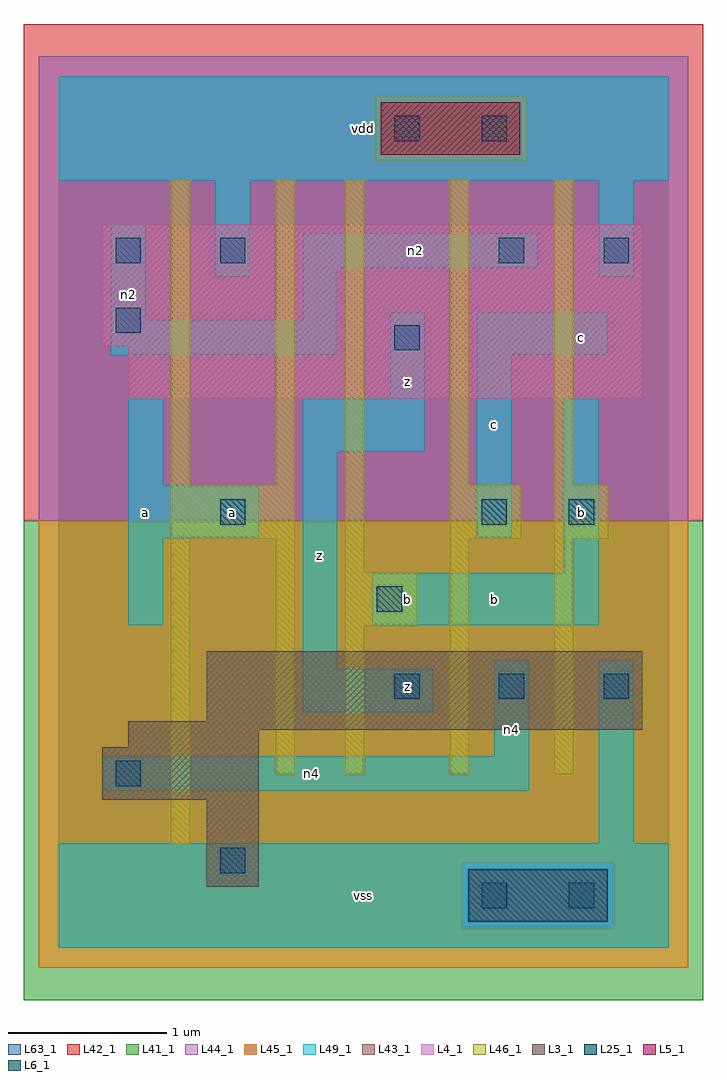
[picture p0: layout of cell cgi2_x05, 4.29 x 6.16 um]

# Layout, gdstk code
import gdstk
lib = gdstk.Library(unit=1e-6, precision=1e-09)
def R(c, l, rs):  # rectangles x0, y0, x1, y1
    for r in rs: c.add(gdstk.rectangle(r[:2], r[2:], *l))
def A(c, l, x, y, w, h, nx, ny, dx, dy):  # array of equal rectangles
    R(c, l, [(x+i*dx, y+j*dy, x+i*dx+w, y+j*dy+h) for i in range(nx) for j in range(ny)])
L3_1 = (3, 1)
L4_1 = (4, 1)
L5_1 = (5, 1)
L6_1 = (6, 1)
L25_1 = (25, 1)
L41_1 = (41, 1)
L42_1 = (42, 1)
L43_1 = (43, 1)
L44_1 = (44, 1)
L45_1 = (45, 1)
L46_1 = (46, 1)
L49_1 = (49, 1)
L63_1 = (63, 1)

cgi2_x05 = lib.new_cell('cgi2_x05')
R(cgi2_x05, L3_1, [(0.935,0.385,1.265,0.935), (0.275,0.935,1.265,1.265), (0.44,1.265,1.265,1.375), (0.44,1.375,3.685,1.43), (0.935,1.43,3.685,1.87)])
R(cgi2_x05, L4_1, [(0.44,3.465,3.685,3.795), (0.275,3.795,3.685,4.565)])
R(cgi2_x05, L5_1, [(2.035,5.005,2.915,5.335)])
R(cgi2_x05, L6_1, [(2.585,0.165,3.465,0.495)])
A(cgi2_x05, L25_1, 2.67, 0.25, 0.16, 0.16, 1, 3, 0, 2.42)
A(cgi2_x05, L25_1, 2.12, 1.57, 0.16, 0.16, 3, 1, 0.66, 0)
R(cgi2_x05, L25_1, [(3.22,0.25,3.38,0.41), (1.02,0.47,1.18,0.63), (0.36,1.02,0.52,1.18), (2.01,2.12,2.17,2.28), (1.02,2.67,1.18,2.83), (3.22,2.67,3.38,2.83), (2.12,3.77,2.28,3.93), (0.36,3.88,0.52,4.04), (0.36,4.32,0.52,4.48), (1.02,4.32,1.18,4.48), (2.78,4.32,2.94,4.48), (3.44,4.32,3.6,4.48), (2.12,5.09,2.28,5.25)])
R(cgi2_x05, L41_1, [(-0.22,-0.33,4.07,2.695)])
R(cgi2_x05, L42_1, [(-0.22,2.695,4.07,5.83)])
R(cgi2_x05, L43_1, [(2.585,0.165,3.465,0.495), (0.935,0.385,1.265,0.935), (0.275,0.935,1.265,1.265), (0.44,1.265,1.265,1.375), (0.44,1.375,3.685,1.43), (0.935,1.43,3.685,1.87), (0.44,3.465,3.685,3.795), (0.275,3.795,3.685,4.565), (2.035,5.005,2.915,5.335)])
R(cgi2_x05, L44_1, [(2.545,0.125,3.505,0.535), (-0.125,2.695,3.975,4.965), (-0.125,4.965,1.995,5.375), (2.955,4.965,3.975,5.375), (-0.125,5.375,3.975,5.625)])
R(cgi2_x05, L45_1, [(-0.125,-0.125,3.975,0.125), (-0.125,0.125,2.545,0.535), (3.505,0.125,3.975,0.535), (-0.125,0.535,3.975,2.695), (1.995,4.965,2.955,5.375)])
R(cgi2_x05, L46_1, [(0.71,0.655,0.83,2.58), (1.37,1.095,1.49,2.58), (1.81,1.095,1.93,2.03), (2.47,1.095,2.59,2.58), (3.13,1.095,3.25,2.58), (1.81,2.03,2.26,2.37), (1.81,2.37,1.93,4.845), (0.71,2.58,1.49,2.92), (2.47,2.58,2.92,2.92), (3.13,2.58,3.47,2.92), (0.71,2.92,0.83,4.845), (1.37,2.92,1.49,4.845), (2.47,2.92,2.59,4.845), (3.13,2.92,3.25,4.845)])
R(cgi2_x05, L49_1, [(0,0,3.85,0.66), (3.41,0.66,3.63,1.815), (0.275,0.99,2.97,1.21), (2.75,1.21,2.97,1.815), (1.54,1.485,2.365,1.76), (1.54,1.76,1.76,3.135), (0.44,2.035,0.66,2.585), (1.98,2.035,3.41,2.365), (3.19,2.365,3.41,3.465), (0.44,2.585,1.265,2.915), (2.64,2.585,2.86,3.74), (0.44,2.915,0.66,3.465), (1.54,3.135,2.31,3.465), (2.09,3.465,2.31,4.015), (0.33,3.74,1.76,3.96), (2.64,3.74,3.465,4.015), (0.33,3.96,0.55,4.565), (1.54,3.96,1.76,4.29), (0.99,4.235,1.21,4.84), (3.41,4.235,3.63,4.84), (1.54,4.29,3.025,4.51), (0,4.84,3.85,5.5)])
R(cgi2_x05, L63_1, [(0,0,3.85,5.5)])
cgi2_x05.add(gdstk.Label('n2', (0.44,4.125), layer=49, texttype=1))
cgi2_x05.add(gdstk.Label('a', (0.55,2.75), layer=49, texttype=1))
cgi2_x05.add(gdstk.Label('a', (0.55,2.75), layer=49, texttype=1))
cgi2_x05.add(gdstk.Label('a', (1.1,2.75), layer=49, texttype=1))
cgi2_x05.add(gdstk.Label('a', (1.1,2.75), layer=49, texttype=1))
cgi2_x05.add(gdstk.Label('vss', (1.925,0.33), layer=49, texttype=1))
cgi2_x05.add(gdstk.Label('vss', (1.925,0.33), layer=49, texttype=1))
cgi2_x05.add(gdstk.Label('z', (1.65,2.475), layer=49, texttype=1))
cgi2_x05.add(gdstk.Label('z', (1.65,2.475), layer=49, texttype=1))
cgi2_x05.add(gdstk.Label('vdd', (1.925,5.17), layer=49, texttype=1))
cgi2_x05.add(gdstk.Label('vdd', (1.925,5.17), layer=49, texttype=1))
cgi2_x05.add(gdstk.Label('n4', (2.86,1.375), layer=49, texttype=1))
cgi2_x05.add(gdstk.Label('n4', (1.595,1.1), layer=49, texttype=1))
cgi2_x05.add(gdstk.Label('z', (2.2,1.65), layer=49, texttype=1))
cgi2_x05.add(gdstk.Label('z', (2.2,1.65), layer=49, texttype=1))
cgi2_x05.add(gdstk.Label('b', (2.75,2.2), layer=49, texttype=1))
cgi2_x05.add(gdstk.Label('b', (2.75,2.2), layer=49, texttype=1))
cgi2_x05.add(gdstk.Label('b', (2.2,2.2), layer=49, texttype=1))
cgi2_x05.add(gdstk.Label('b', (2.2,2.2), layer=49, texttype=1))
cgi2_x05.add(gdstk.Label('c', (2.75,3.3), layer=49, texttype=1))
cgi2_x05.add(gdstk.Label('c', (2.75,3.3), layer=49, texttype=1))
cgi2_x05.add(gdstk.Label('z', (2.2,3.575), layer=49, texttype=1))
cgi2_x05.add(gdstk.Label('z', (2.2,3.575), layer=49, texttype=1))
cgi2_x05.add(gdstk.Label('n2', (2.255,4.4), layer=49, texttype=1))
cgi2_x05.add(gdstk.Label('b', (3.3,2.75), layer=49, texttype=1))
cgi2_x05.add(gdstk.Label('b', (3.3,2.75), layer=49, texttype=1))
cgi2_x05.add(gdstk.Label('c', (3.3,3.85), layer=49, texttype=1))
cgi2_x05.add(gdstk.Label('c', (3.3,3.85), layer=49, texttype=1))

lib.write_gds('cgi2_x05.gds')
